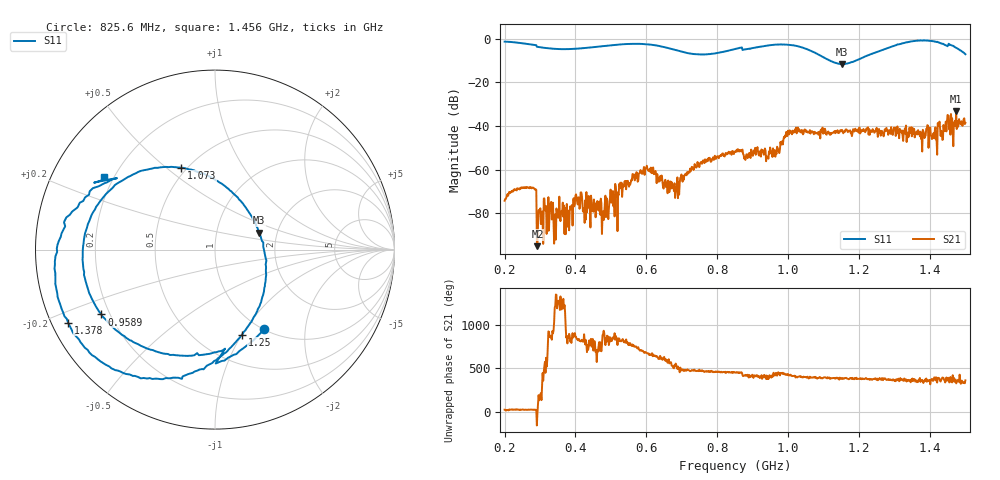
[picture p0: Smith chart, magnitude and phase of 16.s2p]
! NanoVNA-App
! Date: 2024-06-25 16:50:27
! Start: 200MHz Stop: 1.5GHz Points: 801
! S-Parameter data: F S11 S21 S12 S22
# Hz S RI R 50
!  Frequency  S11_Real  S11_Imag  S21_Real  S21_Imag  S12_Real  S12_Imag  S22_Real  S22_Imag
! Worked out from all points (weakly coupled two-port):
!   801 points, 200 MHz to 1.5 GHz, reference 50 ohm
!   highest |S21| = -33.30 dB at 1.474 GHz (marker M1); lowest = -95.0 dB at 292.6 MHz (marker M2)
!   lowest |S11| = -11.6 dB at 1.152 GHz (marker M3), VSWR 1.71, Z = 80.2 + j16.4 ohm
!   |S11| at or under -10 dB: 1.118 GHz to 1.19 GHz (72.18 MHz wide, 6.25 % of centre)
!   S12 and S22 are empty: the file has one direction only
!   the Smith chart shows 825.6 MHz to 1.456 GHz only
!   S11 on the Smith chart (normalised r, x): 825.6 MHz: 1.00, -1.22; 958.9 MHz: 0.17, -0.26; 1.073 GHz: 0.47, +0.56; 1.25 GHz: 0.79, -1.00; 1.378 GHz: 0.05, -0.23; 1.456 GHz: 0.16, +0.29
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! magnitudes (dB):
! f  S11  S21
! 200 MHz  -1.3  -74.2
! 274.8 MHz  -2.6  -68.1
! 292.6 MHz  -3.7  -95.0
! 417.8 MHz  -4.3  -71.4
! 479.5 MHz  -3.3  -83.1
! 596.5 MHz  -2.4  -59.4
! 633.9 MHz  -3.2  -65.4
! 687.5 MHz  -5.4  -63.5
! 729.8 MHz  -6.9  -59.0
! 825.6 MHz  -5.7  -53.0
! 850 MHz  -4.7  -51.6
! 958.9 MHz  -2.7  -53.5
! 1.001 GHz  -2.7  -43.2
! 1.068 GHz  -5.8  -42.3
! 1.073 GHz  -6.1  -43.7
! 1.152 GHz  -11.6  -41.8
! 1.25 GHz  -6.1  -40.8
! 1.284 GHz  -4.0  -42.6
! 1.378 GHz  -0.8  -51.6
! 1.456 GHz  -2.7  -38.1
! 1.474 GHz  -4.1  -33.3
! 1.5 GHz  -7.0  -38.5
